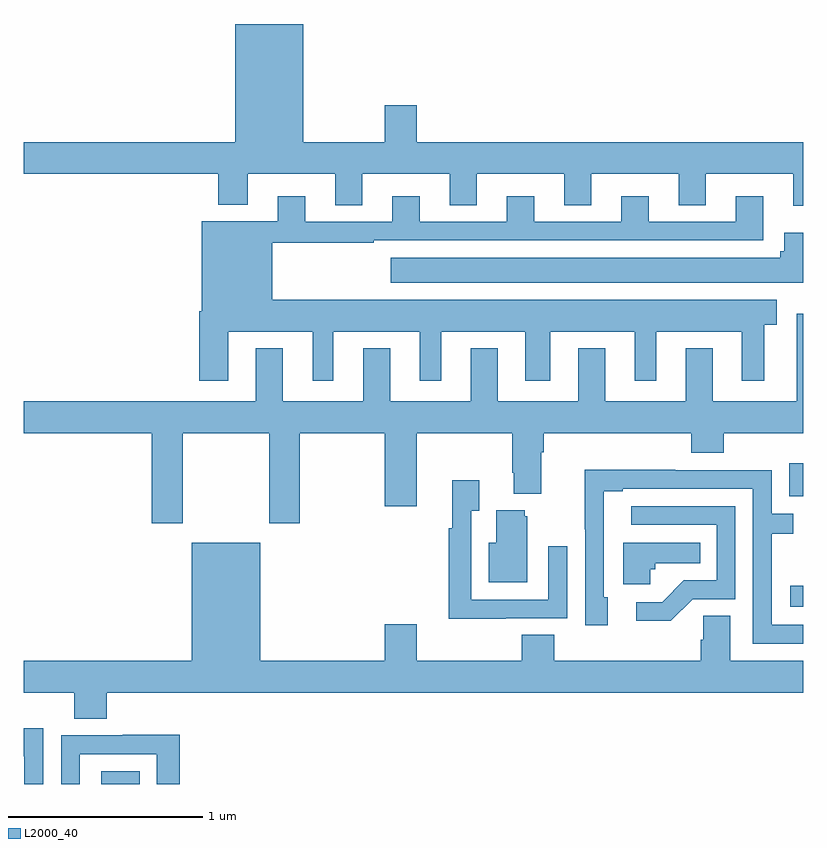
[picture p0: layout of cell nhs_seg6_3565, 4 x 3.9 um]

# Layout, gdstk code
import gdstk
lib = gdstk.Library(unit=1e-6, precision=1e-09)
def R(c, l, rs):  # rectangles x0, y0, x1, y1
    for r in rs: c.add(gdstk.rectangle(r[:2], r[2:], *l))
def P(c, l, *ps):  # polygons
    for p in ps: c.add(gdstk.Polygon(p, *l))
L2000_40 = (2000, 40)

nhs_seg6_3565 = lib.new_cell('nhs_seg6_3565')
R(nhs_seg6_3565, L2000_40, [(319.397,981.5,319.594,981.565), (322.935,982.409,323,982.519), (322.929,982.977,323,983.146)])
P(nhs_seg6_3565, L2000_40, [(323,984.796),(321.016,984.796),(321.016,984.985),(320.852,984.985),(320.852,984.796),(320.434,984.796),(320.434,985.402),(320.084,985.402),(320.084,984.796),(319,984.796),(319,984.632),(319.997,984.632),(319.997,984.473),(320.149,984.473),(320.149,984.632),(320.597,984.632),(320.597,984.472),(320.737,984.472),(320.737,984.632),(321.185,984.632),(321.185,984.472),(321.325,984.472),(321.325,984.632),(321.773,984.632),(321.773,984.472),(321.913,984.472),(321.913,984.632),(322.361,984.632),(322.361,984.472),(322.501,984.472),(322.501,984.632),(322.949,984.632),(322.949,984.468),(323,984.468)],
  [(320.05,983.822),(320.483,983.822),(320.483,983.571),(320.587,983.571),(320.587,983.822),(321.032,983.822),(321.032,983.571),(321.142,983.571),(321.142,983.822),(321.575,983.822),(321.575,983.571),(321.703,983.571),(321.703,983.822),(322.136,983.822),(322.136,983.571),(322.246,983.571),(322.246,983.822),(322.685,983.822),(322.685,983.571),(322.801,983.571),(322.801,983.857),(322.864,983.857),(322.864,983.986),(320.275,983.986),(320.275,984.279),(320.795,984.279),(320.795,984.291),(322.795,984.291),(322.795,984.517),(322.655,984.517),(322.655,984.387),(322.207,984.387),(322.207,984.517),(322.067,984.517),(322.067,984.387),(321.619,984.387),(321.619,984.517),(321.479,984.517),(321.479,984.387),(321.031,984.387),(321.031,984.517),(320.891,984.517),(320.891,984.387),(320.443,984.387),(320.443,984.517),(320.303,984.517),(320.303,984.388),(319.913,984.388),(319.913,983.926),(319.901,983.926),(319.901,983.571),(320.05,983.571)],
  [(323,984.331),(322.904,984.331),(322.904,984.234),(322.883,984.234),(322.883,984.202),(320.883,984.202),(320.883,984.074),(323,984.074)],
  [(320.26,982.839),(320.415,982.839),(320.415,983.3),(320.852,983.3),(320.852,982.926),(321.016,982.926),(321.016,983.3),(321.508,983.3),(321.508,983.098),(321.515,983.098),(321.515,982.991),(321.655,982.991),(321.655,983.204),(321.668,983.204),(321.668,983.3),(322.427,983.3),(322.427,983.201),(322.592,983.201),(322.592,983.3),(323,983.3),(323,983.914),(322.967,983.914),(322.967,983.464),(322.537,983.464),(322.537,983.737),(322.397,983.737),(322.397,983.464),(321.985,983.464),(321.985,983.737),(321.845,983.737),(321.845,983.464),(321.433,983.464),(321.433,983.737),(321.293,983.737),(321.293,983.464),(320.881,983.464),(320.881,983.737),(320.741,983.737),(320.741,983.464),(320.329,983.464),(320.329,983.737),(320.189,983.737),(320.189,983.464),(319,983.464),(319,983.3),(319.655,983.3),(319.655,982.839),(319.815,982.839),(319.815,983.3),(320.26,983.3)],
  [(323,982.317),(322.839,982.317),(322.839,982.786),(322.949,982.786),(322.949,982.887),(322.839,982.887),(322.839,983.112),(322.343,983.112),(322.343,983.114),(321.88,983.114),(321.88,982.807),(321.882,982.807),(321.882,982.314),(321.997,982.314),(321.997,982.458),(321.978,982.458),(321.978,983.004),(322.075,983.004),(322.075,983.016),(322.743,983.016),(322.743,982.221),(323,982.221)],
  [(321.473,982.35),(321.789,982.35),(321.789,982.72),(321.693,982.72),(321.693,982.446),(321.297,982.446),(321.297,982.903),(321.337,982.903),(321.337,983.059),(321.2,983.059),(321.2,982.814),(321.181,982.814),(321.181,982.349),(321.473,982.349)],
  [(322.434,982.449),(322.653,982.449),(322.653,982.926),(322.119,982.926),(322.119,982.83),(322.557,982.83),(322.557,982.545),(322.388,982.545),(322.277,982.434),(322.143,982.434),(322.143,982.337),(322.321,982.337)],
  [(321.583,982.875),(321.572,982.875),(321.572,982.906),(321.425,982.906),(321.425,982.738),(321.386,982.738),(321.386,982.535),(321.583,982.535)],
  [(322.215,982.602),(322.242,982.602),(322.242,982.634),(322.472,982.634),(322.472,982.738),(322.076,982.738),(322.076,982.526),(322.215,982.526)],
  [(319.424,981.968),(323,981.968),(323,982.132),(322.627,982.132),(322.627,982.364),(322.488,982.364),(322.488,982.241),(322.475,982.241),(322.475,982.132),(321.722,982.132),(321.722,982.265),(321.557,982.265),(321.557,982.132),(321.016,982.132),(321.016,982.321),(320.852,982.321),(320.852,982.132),(320.212,982.132),(320.212,982.738),(319.862,982.738),(319.862,982.132),(319,982.132),(319,981.968),(319.259,981.968),(319.259,981.835),(319.424,981.835)],
  [(319.098,981.787),(319,981.787),(319,981.642),(319.002,981.642),(319.002,981.5),(319.098,981.5)],
  [(319.287,981.654),(319.683,981.654),(319.683,981.5),(319.799,981.5),(319.799,981.752),(319.507,981.752),(319.507,981.75),(319.191,981.75),(319.191,981.5),(319.287,981.5)])

lib.write_gds('nhs_seg6_3565.gds')
